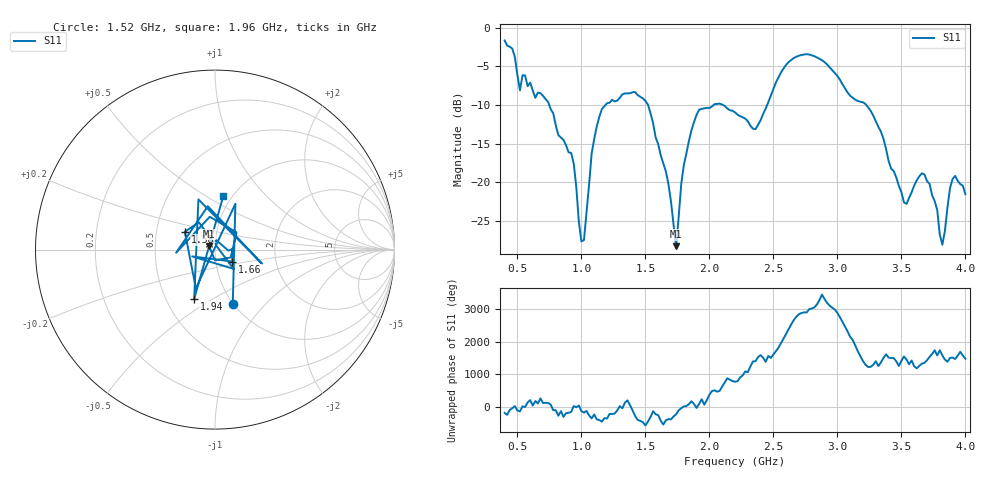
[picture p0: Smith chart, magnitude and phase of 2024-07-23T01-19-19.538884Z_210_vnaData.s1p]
!Created with skrf (http://scikit-rf.org).
# Hz S RI R 50.0
!freq ReS11 ImS11
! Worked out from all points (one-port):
!   181 points, 400 MHz to 4 GHz, reference 50 ohm
!   lowest |S11| = -28.2 dB at 1.74 GHz (marker M1), VSWR 1.08, Z = 46.7 + j1.85 ohm
!   |S11| at or under -10 dB: 748.4 MHz to 1.188 GHz (439.8 MHz wide, 45.4 % of centre); 1.521 GHz to 2.034 GHz (513 MHz wide, 28.9 % of centre); 3.225 GHz to end of sweep (the widest 3 of 4)
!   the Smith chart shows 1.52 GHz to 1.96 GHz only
!   S11 on the Smith chart (normalised r, x): 1.52 GHz: 1.00, -0.67; 1.58 GHz: 0.70, +0.14; 1.66 GHz: 1.20, -0.16; 1.94 GHz: 0.69, -0.42; 1.96 GHz: 0.91, +0.59
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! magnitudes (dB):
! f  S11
! 400 MHz  -1.7
! 520 MHz  -8.1
! 700 MHz  -8.8
! 860 MHz  -14.5
! 940 MHz  -17.6
! 1 GHz  -27.6
! 1.02 GHz  -27.5
! 1.08 GHz  -16.3
! 1.12 GHz  -12.8
! 1.3 GHz  -9.1
! 1.52 GHz  -10.0
! 1.58 GHz  -14.2
! 1.66 GHz  -18.6
! 1.74 GHz  -28.2
! 1.76 GHz  -24.5
! 1.84 GHz  -14.6
! 1.94 GHz  -10.5
! 1.96 GHz  -10.5
! 2.2 GHz  -11.0
! 2.36 GHz  -13.1
! 2.66 GHz  -3.9
! 3.1 GHz  -8.8
! 3.26 GHz  -10.8
! 3.56 GHz  -22.0
! 3.68 GHz  -19.0
! 3.82 GHz  -28.1
! 3.9 GHz  -19.6
! 4 GHz  -21.5
